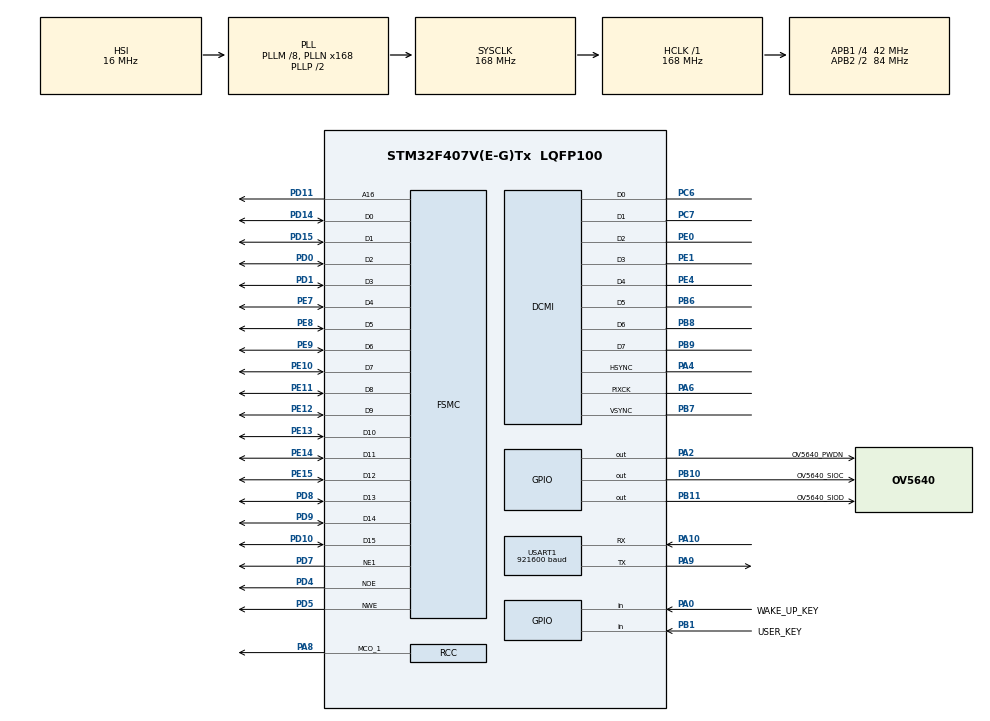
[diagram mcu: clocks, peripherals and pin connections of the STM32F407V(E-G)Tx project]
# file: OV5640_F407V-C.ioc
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DCMI.JPEGMode=DCMI_JPEG_ENABLE
DCMI.PCKPolarity=DCMI_PCKPOLARITY_RISING
Dma.DCMI.2.Direction=DMA_PERIPH_TO_MEMORY
Dma.DCMI.2.FIFOMode=DMA_FIFOMODE_ENABLE
Dma.DCMI.2.FIFOThreshold=DMA_FIFO_THRESHOLD_FULL
Dma.DCMI.2.Instance=DMA2_Stream1
Dma.DCMI.2.MemBurst=DMA_MBURST_SINGLE
Dma.DCMI.2.MemDataAlignment=DMA_MDATAALIGN_WORD
Dma.DCMI.2.MemInc=DMA_MINC_ENABLE
Dma.DCMI.2.Mode=DMA_CIRCULAR
Dma.DCMI.2.PeriphBurst=DMA_PBURST_SINGLE
Dma.DCMI.2.PeriphDataAlignment=DMA_PDATAALIGN_WORD
Dma.DCMI.2.PeriphInc=DMA_PINC_DISABLE
Dma.DCMI.2.Priority=DMA_PRIORITY_HIGH
Dma.Request0=USART1_RX
Dma.Request1=USART1_TX
Dma.Request2=DCMI
Dma.USART1_RX.0.Direction=DMA_PERIPH_TO_MEMORY
Dma.USART1_RX.0.FIFOMode=DMA_FIFOMODE_DISABLE
Dma.USART1_RX.0.Instance=DMA2_Stream2
Dma.USART1_RX.0.MemDataAlignment=DMA_MDATAALIGN_BYTE
Dma.USART1_RX.0.MemInc=DMA_MINC_ENABLE
Dma.USART1_RX.0.Mode=DMA_NORMAL
Dma.USART1_RX.0.PeriphDataAlignment=DMA_PDATAALIGN_BYTE
Dma.USART1_RX.0.PeriphInc=DMA_PINC_DISABLE
Dma.USART1_RX.0.Priority=DMA_PRIORITY_LOW
Dma.USART1_TX.1.Direction=DMA_MEMORY_TO_PERIPH
Dma.USART1_TX.1.FIFOMode=DMA_FIFOMODE_ENABLE
Dma.USART1_TX.1.FIFOThreshold=DMA_FIFO_THRESHOLD_FULL
Dma.USART1_TX.1.Instance=DMA2_Stream7
Dma.USART1_TX.1.MemBurst=DMA_MBURST_SINGLE
Dma.USART1_TX.1.MemDataAlignment=DMA_MDATAALIGN_BYTE
Dma.USART1_TX.1.MemInc=DMA_MINC_ENABLE
Dma.USART1_TX.1.Mode=DMA_NORMAL
Dma.USART1_TX.1.PeriphBurst=DMA_PBURST_SINGLE
Dma.USART1_TX.1.PeriphDataAlignment=DMA_PDATAALIGN_BYTE
Dma.USART1_TX.1.PeriphInc=DMA_PINC_DISABLE
Dma.USART1_TX.1.Priority=DMA_PRIORITY_LOW
FSMC.AddressSetupTime1=0x0f
FSMC.BusTurnAroundDuration1=0x0
FSMC.DataSetupTime1=0x46
FSMC.ExtendedAddressSetupTime1=0x0f
FSMC.ExtendedBusTurnAroundDuration1=0x0
FSMC.ExtendedDataSetupTime1=0x0f
FSMC.ExtendedMode1=FSMC_EXTENDED_MODE_ENABLE
Mcu.Family=STM32F4
Mcu.Name=STM32F407V(E-G)Tx
Mcu.Package=LQFP100
NVIC.DCMI_IRQn=true\:0\:0\:false\:false\:true\:true
NVIC.DMA2_Stream1_IRQn=true\:0\:0\:false\:false\:true\:true
NVIC.DMA2_Stream2_IRQn=true\:0\:0\:false\:false\:true\:true
NVIC.DMA2_Stream7_IRQn=true\:0\:0\:false\:false\:true\:true
NVIC.PriorityGroup=NVIC_PRIORITYGROUP_4
NVIC.USART1_IRQn=true\:0\:0\:false\:false\:true\:true
PA0-WKUP.GPIO_Label=WAKE_UP_KEY
PA0-WKUP.GPIO_Mode=GPIO_MODE_INPUT
PA0-WKUP.GPIO_PuPd=GPIO_PULLUP
PA0-WKUP.Signal=GPIO_Input
PA10.Mode=Asynchronous
PA10.Signal=USART1_RX
PA13.Mode=Serial_Wire
PA13.Signal=SYS_JTMS-SWDIO
PA14.Mode=Serial_Wire
PA14.Signal=SYS_JTCK-SWCLK
PA2.GPIO_Label=OV5640_PWDN
PA2.GPIO_ModeDefaultOutputPP=GPIO_MODE_OUTPUT_PP
PA2.GPIO_PuPd=GPIO_NOPULL
PA2.GPIO_Speed=GPIO_SPEED_FREQ_LOW
PA2.PinState=GPIO_PIN_SET
PA2.Signal=GPIO_Output
PA4.GPIO_Mode=GPIO_MODE_AF_PP
PA4.GPIO_PuPd=GPIO_NOPULL
PA4.GPIO_Speed=GPIO_SPEED_FREQ_LOW
PA4.Mode=Slave_8_bits_External_Synchro
PA4.Signal=DCMI_HSYNC
PA6.GPIO_Mode=GPIO_MODE_AF_PP
PA6.GPIO_PuPd=GPIO_NOPULL
PA6.GPIO_Speed=GPIO_SPEED_FREQ_LOW
PA6.Mode=Slave_8_bits_External_Synchro
PA6.Signal=DCMI_PIXCK
PA8.Mode=Clock-out-1
PA8.Signal=RCC_MCO_1
PA9.Mode=Asynchronous
PA9.Signal=USART1_TX
PB1.GPIO_Label=USER_KEY
PB1.GPIO_Mode=GPIO_MODE_INPUT
PB1.GPIO_PuPd=GPIO_PULLUP
PB1.Signal=GPIO_Input
PB10.GPIO_Label=OV5640_SIOC
PB10.GPIO_ModeDefaultOutputPP=GPIO_MODE_OUTPUT_OD
PB10.GPIO_PuPd=GPIO_PULLUP
PB10.GPIO_Speed=GPIO_SPEED_FREQ_VERY_HIGH
PB10.PinState=GPIO_PIN_SET
PB10.Signal=GPIO_Output
PB11.GPIO_Label=OV5640_SIOD
PB11.GPIO_ModeDefaultOutputPP=GPIO_MODE_OUTPUT_OD
PB11.GPIO_PuPd=GPIO_PULLUP
PB11.GPIO_Speed=GPIO_SPEED_FREQ_VERY_HIGH
PB11.PinState=GPIO_PIN_SET
PB11.Signal=GPIO_Output
PB6.GPIO_Mode=GPIO_MODE_AF_PP
PB6.GPIO_PuPd=GPIO_NOPULL
PB6.GPIO_Speed=GPIO_SPEED_FREQ_LOW
PB6.Mode=Slave_8_bits_External_Synchro
PB6.Signal=DCMI_D5
PB7.GPIO_Mode=GPIO_MODE_AF_PP
PB7.GPIO_PuPd=GPIO_NOPULL
PB7.GPIO_Speed=GPIO_SPEED_FREQ_LOW
PB7.Mode=Slave_8_bits_External_Synchro
PB7.Signal=DCMI_VSYNC
PB8.GPIO_Mode=GPIO_MODE_AF_PP
PB8.GPIO_PuPd=GPIO_NOPULL
PB8.GPIO_Speed=GPIO_SPEED_FREQ_LOW
PB8.Mode=Slave_8_bits_External_Synchro
PB8.Signal=DCMI_D6
PB9.GPIO_Mode=GPIO_MODE_AF_PP
PB9.GPIO_PuPd=GPIO_NOPULL
PB9.GPIO_Speed=GPIO_SPEED_FREQ_LOW
PB9.Mode=Slave_8_bits_External_Synchro
PB9.Signal=DCMI_D7
PC6.GPIO_Mode=GPIO_MODE_AF_PP
PC6.GPIO_PuPd=GPIO_NOPULL
PC6.GPIO_Speed=GPIO_SPEED_FREQ_LOW
PC6.Mode=Slave_8_bits_External_Synchro
PC6.Signal=DCMI_D0
PC7.GPIO_Mode=GPIO_MODE_AF_PP
PC7.GPIO_PuPd=GPIO_NOPULL
PC7.GPIO_Speed=GPIO_SPEED_FREQ_LOW
PC7.Mode=Slave_8_bits_External_Synchro
PC7.Signal=DCMI_D1
PD0.Mode=16b-d1
PD0.Signal=FSMC_D2
PD1.Mode=16b-d1
PD1.Signal=FSMC_D3
PD10.Mode=16b-d1
PD10.Signal=FSMC_D15
PD11.Mode=A16_1
PD11.Signal=FSMC_A16
PD14.Mode=16b-d1
PD14.Signal=FSMC_D0
PD15.Mode=16b-d1
PD15.Signal=FSMC_D1
PD4.Mode=Lcd1
PD4.Signal=FSMC_NOE
PD5.Mode=Lcd1
PD5.Signal=FSMC_NWE
PD7.Mode=NorPsramChipSelect1_1
PD7.Signal=FSMC_NE1
PD8.Mode=16b-d1
PD8.Signal=FSMC_D13
PD9.Mode=16b-d1
PD9.Signal=FSMC_D14
PE0.GPIO_Mode=GPIO_MODE_AF_PP
PE0.GPIO_PuPd=GPIO_NOPULL
PE0.GPIO_Speed=GPIO_SPEED_FREQ_LOW
PE0.Mode=Slave_8_bits_External_Synchro
PE0.Signal=DCMI_D2
PE1.GPIO_Mode=GPIO_MODE_AF_PP
PE1.GPIO_PuPd=GPIO_NOPULL
PE1.GPIO_Speed=GPIO_SPEED_FREQ_LOW
PE1.Mode=Slave_8_bits_External_Synchro
PE1.Signal=DCMI_D3
PE10.Mode=16b-d1
PE10.Signal=FSMC_D7
PE11.Mode=16b-d1
PE11.Signal=FSMC_D8
PE12.Mode=16b-d1
PE12.Signal=FSMC_D9
PE13.Mode=16b-d1
PE13.Signal=FSMC_D10
PE14.Mode=16b-d1
PE14.Signal=FSMC_D11
PE15.Mode=16b-d1
PE15.Signal=FSMC_D12
PE4.GPIO_Mode=GPIO_MODE_AF_PP
PE4.GPIO_PuPd=GPIO_NOPULL
PE4.GPIO_Speed=GPIO_SPEED_FREQ_LOW
PE4.Mode=Slave_8_bits_External_Synchro
PE4.Signal=DCMI_D4
PE7.Mode=16b-d1
PE7.Signal=FSMC_D4
PE8.Mode=16b-d1
PE8.Signal=FSMC_D5
PE9.Mode=16b-d1
PE9.Signal=FSMC_D6
PH0-OSC_IN.Mode=HSE-External-Oscillator
PH0-OSC_IN.Signal=RCC_OSC_IN
PH1-OSC_OUT.Mode=HSE-External-Oscillator
PH1-OSC_OUT.Signal=RCC_OSC_OUT
ProjectManager.HeapSize=0x200
ProjectManager.StackSize=0x400
ProjectManager.TargetToolchain=MDK-ARM V5
RCC.48MHZClocksFreq_Value=84000000
RCC.AHBFreq_Value=168000000
RCC.APB1CLKDivider=RCC_HCLK_DIV4
RCC.APB1Freq_Value=42000000
RCC.APB1TimFreq_Value=84000000
RCC.APB2CLKDivider=RCC_HCLK_DIV2
RCC.APB2Freq_Value=84000000
RCC.APB2TimFreq_Value=168000000
RCC.CortexFreq_Value=168000000
RCC.HCLKFreq_Value=168000000
RCC.HSE_VALUE=8000000
RCC.HSI_VALUE=16000000
RCC.LSE_VALUE=32768
RCC.PLLM=8
RCC.PLLN=168
RCC.SYSCLKFreq_VALUE=168000000
RCC.SYSCLKSource=RCC_SYSCLKSOURCE_PLLCLK
RCC.VCOOutputFreq_Value=336000000
USART1.BaudRate=921600
USART1.VirtualMode=VM_ASYNC
board=OV5640_F407V-C

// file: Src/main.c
/**
  ******************************************************************************
  * File Name          : main.c
  * Description        : Main program body
  ******************************************************************************
  ** This notice applies to any and all portions of this file
  * that are not between comment pairs USER CODE BEGIN and
  * USER CODE END. Other portions of this file, whether
  * inserted by the user or by software development tools
  * are owned by their respective copyright owners.
  *
  * COPYRIGHT(c) 2017 STMicroelectronics
  *
  * Redistribution and use in source and binary forms, with or without modification,
  * are permitted provided that the following conditions are met:
  *   1. Redistributions of source code must retain the above copyright notice,
  *      this list of conditions and the following disclaimer.
  *   2. Redistributions in binary form must reproduce the above copyright notice,
  *      this list of conditions and the following disclaimer in the documentation
  *      and/or other materials provided with the distribution.
  *   3. Neither the name of STMicroelectronics nor the names of its contributors
  *      may be used to endorse or promote products derived from this software
  *      without specific prior written permission.
  *
  * THIS SOFTWARE IS PROVIDED BY THE COPYRIGHT HOLDERS AND CONTRIBUTORS "AS IS"
  * AND ANY EXPRESS OR IMPLIED WARRANTIES, INCLUDING, BUT NOT LIMITED TO, THE
  * IMPLIED WARRANTIES OF MERCHANTABILITY AND FITNESS FOR A PARTICULAR PURPOSE ARE
  * DISCLAIMED. IN NO EVENT SHALL THE COPYRIGHT HOLDER OR CONTRIBUTORS BE LIABLE
  * FOR ANY DIRECT, INDIRECT, INCIDENTAL, SPECIAL, EXEMPLARY, OR CONSEQUENTIAL
  * DAMAGES (INCLUDING, BUT NOT LIMITED TO, PROCUREMENT OF SUBSTITUTE GOODS OR
  * SERVICES; LOSS OF USE, DATA, OR PROFITS; OR BUSINESS INTERRUPTION) HOWEVER
  * CAUSED AND ON ANY THEORY OF LIABILITY, WHETHER IN CONTRACT, STRICT LIABILITY,
  * OR TORT (INCLUDING NEGLIGENCE OR OTHERWISE) ARISING IN ANY WAY OUT OF THE USE
  * OF THIS SOFTWARE, EVEN IF ADVISED OF THE POSSIBILITY OF SUCH DAMAGE.
  *
  ******************************************************************************
  */

#include "main.h"
#include "stm32f4xx_hal.h"
#include "dcmi.h"
#include "dma.h"
#include "usart.h"
#include "gpio.h"
#include "fsmc.h"

/* USER CODE BEGIN Includes */

#include "ov5640.h"
#include "openx07v_c_lcd.h"

/* USER CODE END Includes */

/* USER CODE BEGIN PV */

/* Private variables ---------------------------------------------------------*/

/* USER CODE END PV */

void SystemClock_Config(void);

/* USER CODE BEGIN PFP */
/* Private function prototypes -----------------------------------------------*/

/* USER CODE END PFP */

int main(void)
{

  /* MCU Configuration----------------------------------------------------------*/

  /* Reset of all peripherals, Initializes the Flash interface and the Systick. */
  HAL_Init();

  /* Configure the system clock */
  SystemClock_Config();

  /* Initialize all configured peripherals */
  MX_GPIO_Init();
  MX_DMA_Init();
  MX_USART1_UART_Init();
  MX_DCMI_Init();
  MX_FSMC_Init();

  /* USER CODE BEGIN 2 */

        BSP_LCD_Init();
        BSP_LCD_Clear(LCD_COLOR_WHITE);
        BSP_LCD_SetTextColor(LCD_COLOR_RED);
        BSP_LCD_SetFont(&Font16);
        BSP_LCD_DisplayStringAt(0, 60, (uint8_t *)"Initializing, please wait ...", CENTER_MODE);
        printf("Initializing, please wait ...\r\n");

        while(OV5640_Init())
        {
                printf("OV5640 error, please check !\r\n");
                BSP_LCD_Clear(LCD_COLOR_WHITE);
                HAL_Delay(200);
                BSP_LCD_DisplayStringAt(0, 60, (uint8_t *)"OV5640 error, please check !", CENTER_MODE);
                HAL_Delay(300);
        }

        OV5640_RGB565_Mode();
	OV5640_Light_Mode(0);	   //set auto
	OV5640_Color_Saturation(3); //default
	OV5640_Brightness(4);	//default
	OV5640_Contrast(3);     //default
	OV5640_Sharpness(33);	//set auto

        BSP_LCD_Clear(LCD_COLOR_WHITE);
        BSP_LCD_SetTextColor(LCD_COLOR_BLUE);
        BSP_LCD_DisplayStringAt(0, 20, (uint8_t *)"Copyright(c) Waveshare", CENTER_MODE);
        BSP_LCD_DisplayStringAt(0, 60, (uint8_t *)"OV5640 Test", CENTER_MODE);
        BSP_LCD_DisplayStringAt(0, 130, (uint8_t *)" WAKE UP: RGB565", LEFT_MODE);
        BSP_LCD_DisplayStringAt(0, 160, (uint8_t *)" USER   : JPEG", LEFT_MODE);

        printf("Waveshare OV5640 Test Start !\r\n");
        printf("WAKE UP:  RGB565 \r\n");
        printf("USER   :  JPEG \r\n");

  /* USER CODE END 2 */

  /* Infinite loop */
  /* USER CODE BEGIN WHILE */
  while (1)
  {
          if(USER_KEY_PRESS)
          {
                HAL_Delay(15);
                if(USER_KEY_PRESS)
                {
                        jpeg_test(CIF_352_288);
                }
                while(USER_KEY_PRESS);   // wait until key restore
          }

          if(WAKE_UP_KEY_PRESS)
          {
                HAL_Delay(15);
                if(WAKE_UP_KEY_PRESS)
                {
                        rgb565_test();
                }
                while(WAKE_UP_KEY_PRESS);   // wait until key restore
          }

  /* USER CODE END WHILE */

  }

}

/** System Clock Configuration
*/
void SystemClock_Config(void)
{

  RCC_OscInitTypeDef RCC_OscInitStruct;
  RCC_ClkInitTypeDef RCC_ClkInitStruct;

    /**Configure the main internal regulator output voltage
    */
  __HAL_RCC_PWR_CLK_ENABLE();

  __HAL_PWR_VOLTAGESCALING_CONFIG(PWR_REGULATOR_VOLTAGE_SCALE1);

    /**Initializes the CPU, AHB and APB busses clocks
    */
  RCC_OscInitStruct.OscillatorType = RCC_OSCILLATORTYPE_HSI;
  RCC_OscInitStruct.HSIState = RCC_HSI_ON;
  RCC_OscInitStruct.HSICalibrationValue = 16;
  RCC_OscInitStruct.PLL.PLLState = RCC_PLL_ON;
  RCC_OscInitStruct.PLL.PLLSource = RCC_PLLSOURCE_HSI;
  RCC_OscInitStruct.PLL.PLLM = 8;
  RCC_OscInitStruct.PLL.PLLN = 168;
  RCC_OscInitStruct.PLL.PLLP = RCC_PLLP_DIV2;
  RCC_OscInitStruct.PLL.PLLQ = 4;
  if (HAL_RCC_OscConfig(&RCC_OscInitStruct) != HAL_OK)
  {
    _Error_Handler(__FILE__, __LINE__);
  }

    /**Initializes the CPU, AHB and APB busses clocks
    */
  RCC_ClkInitStruct.ClockType = RCC_CLOCKTYPE_HCLK|RCC_CLOCKTYPE_SYSCLK
                              |RCC_CLOCKTYPE_PCLK1|RCC_CLOCKTYPE_PCLK2;
  RCC_ClkInitStruct.SYSCLKSource = RCC_SYSCLKSOURCE_PLLCLK;
  RCC_ClkInitStruct.AHBCLKDivider = RCC_SYSCLK_DIV1;
  RCC_ClkInitStruct.APB1CLKDivider = RCC_HCLK_DIV4;
  RCC_ClkInitStruct.APB2CLKDivider = RCC_HCLK_DIV2;

  if (HAL_RCC_ClockConfig(&RCC_ClkInitStruct, FLASH_LATENCY_5) != HAL_OK)
  {
    _Error_Handler(__FILE__, __LINE__);
  }

  HAL_RCC_MCOConfig(RCC_MCO1, RCC_MCO1SOURCE_HSI, RCC_MCODIV_1);

    /**Configure the Systick interrupt time
    */
  HAL_SYSTICK_Config(HAL_RCC_GetHCLKFreq()/1000);

    /**Configure the Systick
    */
  HAL_SYSTICK_CLKSourceConfig(SYSTICK_CLKSOURCE_HCLK);

  /* SysTick_IRQn interrupt configuration */
  HAL_NVIC_SetPriority(SysTick_IRQn, 0, 0);
}

void _Error_Handler(char * file, int line)
{
  while(1)
  {
  }
}

/************************ (C) COPYRIGHT STMicroelectronics *****END OF FILE****/
